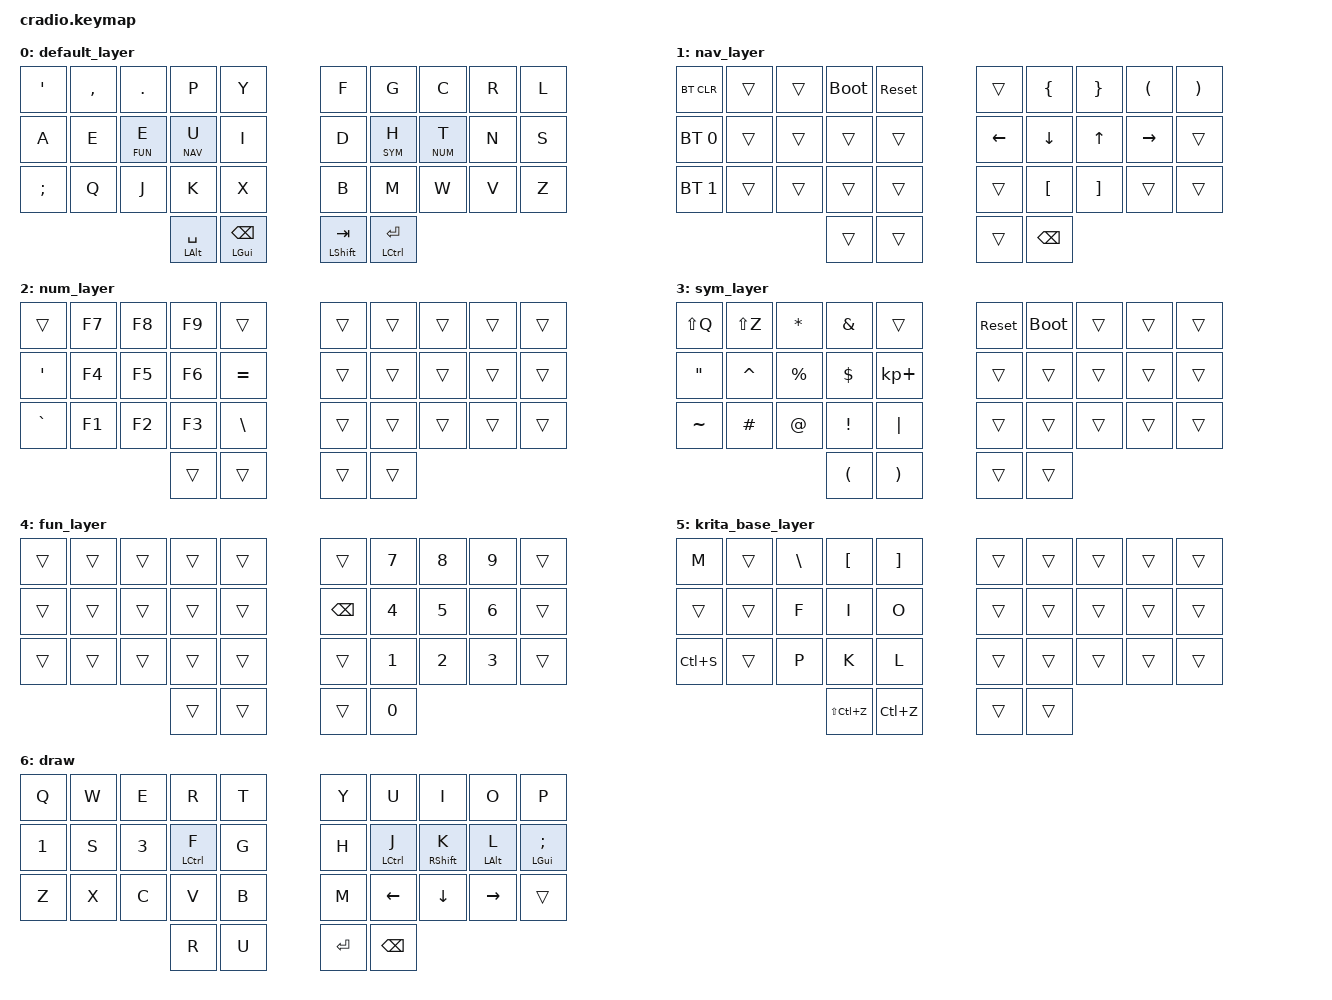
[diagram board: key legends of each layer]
/*
 * Copyright (c) 2020 The ZMK Contributors
 *
 * SPDX-License-Identifier: MIT
 */

#include <behaviors.dtsi>
#include <dt-bindings/zmk/bt.h>
#include <dt-bindings/zmk/keys.h>
#include <dt-bindings/zmk/outputs.h>

#define COLEMAK 0
#define NAV 1
#define NUM 2
#define SYM 3
#define FUN 4

/* krita base */

#define KRB 5

/* play */

#define PLAY 6

&mt {
    flavor = "tap-preferred";
    tapping_term_ms = <200>;
    quick_tap_ms = <75>;
};

/ {
    combos {
        compatible = "zmk,combos";

        combo_caps_word {
            timeout-ms = <100>;
            key-positions = <20 29>;
            bindings = <&caps_word>;
        };

        // (

        combo_lpar {
            timeout-ms = <150>;
            key-positions = <4 14>;
            bindings = <&kp LPAR>;
        };

        // )

        combo_rpar {
            timeout-ms = <150>;
            key-positions = <5 15>;
            bindings = <&kp RPAR>;
        };

        // {

        combo_lcurly {
            timeout-ms = <150>;
            key-positions = <3 13>;
            bindings = <&kp LBRC>;
        };

        // }

        combo_rcurly {
            timeout-ms = <150>;
            key-positions = <6 16>;
            bindings = <&kp RBRC>;
        };

        // [

        combo_lsquare {
            timeout-ms = <150>;
            key-positions = <13 23>;
            bindings = <&kp LBKT>;
        };

        // ]

        combo_rsquare {
            timeout-ms = <150>;
            key-positions = <16 26>;
            bindings = <&kp RBKT>;
        };

        // <

        combo_less_than {
            timeout-ms = <150>;
            key-positions = <14 24>;
            bindings = <&kp LT>;
        };

        // >

        combo_greater_than {
            timeout-ms = <150>;
            key-positions = <15 25>;
            bindings = <&kp GT>;
        };

        combo_minus {
            timeout-ms = <150>;
            key-positions = <2 3 6 7>;
            bindings = <&kp MINUS>;
        };

        combo_under {
            timeout-ms = <150>;
            key-positions = <22 23 26 27>;
            bindings = <&kp UNDER>;
        };

        combo_ble {
            timeout-ms = <20>;
            key-positions = <0 1>;
            bindings = <&out OUT_BLE>;
        };

        combo_krita {
            timeout-ms = <100>;
            key-positions = <0 10 20>;
            bindings = <&tog KRB>;
        };

        combo_draw {
            timeout-ms = <100>;
            key-positions = <9 19 29>;
            bindings = <&tog PLAY>;
        };

        esc_combo {
            bindings = <&kp ESCAPE>;
            key-positions = <32 33>;
        };
    };

    keymap {
        compatible = "zmk,keymap";

        default_layer {
            bindings = <
&kp SQT        &kp COMMA  &kp PERIOD  &kp P           &kp Y                 &kp F           &kp G            &kp C      &kp R  &kp L
&kp A          &kp E      &lt FUN E   &lt NAV U       &kp I                 &kp D           &lt SYM H        &lt NUM T  &kp N  &kp S
&kp SEMICOLON  &kp Q      &kp J       &kp K           &kp X                 &kp B           &kp M            &kp W      &kp V  &kp Z
                                      &mt LALT SPACE  &mt LGUI BACKSPACE    &mt LSHIFT TAB  &mt LCTRL ENTER
            >;
        };

        nav_layer {
            bindings = <
&bt BT_CLR    &trans  &trans  &bootloader  &sys_reset    &trans    &kp LBRC  &kp RBRC  &kp LPAR   &kp RPAR
&bt BT_SEL 0  &trans  &trans  &trans       &trans        &kp LEFT  &kp DOWN  &kp UP    &kp RIGHT  &trans
&bt BT_SEL 1  &trans  &trans  &trans       &trans        &trans    &kp LBKT  &kp RBKT  &trans     &trans
                              &trans       &trans        &trans    &kp BSPC
            >;
        };

        num_layer {
            bindings = <
&trans     &kp F7  &kp F8  &kp F9  &trans       &trans  &trans  &trans  &trans  &trans
&kp SQT    &kp F4  &kp F5  &kp F6  &kp EQUAL    &trans  &trans  &trans  &trans  &trans
&kp GRAVE  &kp F1  &kp F2  &kp F3  &kp BSLH     &trans  &trans  &trans  &trans  &trans
                           &trans  &trans       &trans  &trans
            >;
        };

        sym_layer {
            bindings = <
&kp LS(Q)  &kp LS(Z)  &kp STAR   &kp AMPS  &trans         &sys_reset  &bootloader  &trans  &trans  &trans
&kp DQT    &kp CARET  &kp PRCNT  &kp DLLR  &kp KP_PLUS    &trans      &trans       &trans  &trans  &trans
&kp TILDE  &kp HASH   &kp AT     &kp EXCL  &kp PIPE       &trans      &trans       &trans  &trans  &trans
                                 &kp LPAR  &kp RPAR       &trans      &trans
            >;
        };

        fun_layer {
            bindings = <
&trans  &trans  &trans  &trans  &trans    &trans    &kp N7  &kp N8  &kp N9  &trans
&trans  &trans  &trans  &trans  &trans    &kp BSPC  &kp N4  &kp N5  &kp N6  &trans
&trans  &trans  &trans  &trans  &trans    &trans    &kp N1  &kp N2  &kp N3  &trans
                        &trans  &trans    &trans    &kp N0
            >;
        };

        krita_base_layer {
            bindings = <
&kp M      &trans  &kp BSLH  &kp LBKT       &kp RBKT     &trans  &trans  &trans  &trans  &trans
&trans     &trans  &kp F     &kp I          &kp O        &trans  &trans  &trans  &trans  &trans
&kp LC(S)  &trans  &kp P     &kp K          &kp L        &trans  &trans  &trans  &trans  &trans
                             &kp LS(LC(Z))  &kp LC(Z)    &trans  &trans
            >;
        };

        draw {
            bindings = <
&kp Q   &kp W  &kp E   &kp R        &kp T    &kp Y    &kp U        &kp I         &kp O       &kp P
&kp N1  &kp S  &kp N3  &mt LCTRL F  &kp G    &kp H    &mt LCTRL J  &mt RSHIFT K  &mt LALT L  &mt LGUI SCLN
&kp Z   &kp X  &kp C   &kp V        &kp B    &kp M    &kp LEFT     &kp DOWN      &kp RIGHT   &trans
                       &kp R        &kp U    &kp RET  &kp BSPC
            >;
        };
    };
};
